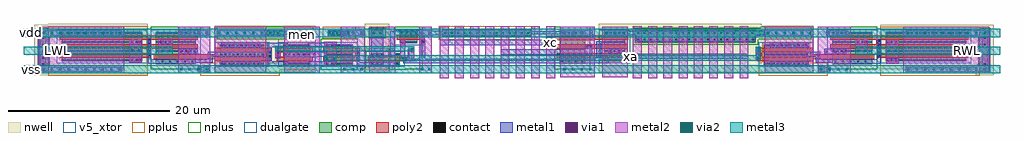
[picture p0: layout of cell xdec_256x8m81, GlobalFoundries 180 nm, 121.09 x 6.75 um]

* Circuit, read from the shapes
.subckt xdec_256x8m81 LWL RWL men vdd vss xa xb xc
XM1 vss nmos_5p043105908781109_256x8m81_80/S pmos_1p2$$49272876_R270_256x8m81_19/pmos_5p043105908781103_256x8m81_0/D vss nfet_03v3 w=5u l=0.6u
XM2 LWL pmos_1p2$$49272876_R270_256x8m81_19/pmos_5p043105908781103_256x8m81_0/D vss vss nfet_05v0 w=5u l=0.6u m=2
XM3 men nmos_5p043105908781107_256x8m81_55/S nmos_5p043105908781109_256x8m81_80/S vss nfet_05v0 w=3.3u l=0.6u m=2
XM4 vss pmos_5p043105908781106_256x8m81_39/D nmos_5p043105908781107_256x8m81_55/S vss nfet_05v0 w=0.66u l=0.6u
XM5 vss pmos_5p043105908781106_256x8m81_39/D nmos_5p043105908781109_256x8m81_80/S vss nfet_05v0 w=2.2u l=0.6u
XM6 n1 xa pmos_5p043105908781106_256x8m81_39/D vss nfet_03v3 w=3.15u l=0.6u
XM7 n2 xb n1 vss nfet_03v3 w=3.15u l=0.6u
XM8 vss xc n2 vss nfet_03v3 w=3.15u l=0.6u
XM9 vss nmos_5p043105908781109_256x8m81_80/S pmos_1p2$$49272876_R270_256x8m81_20/pmos_5p043105908781103_256x8m81_0/D vss nfet_03v3 w=5u l=0.6u
XM10 RWL pmos_1p2$$49272876_R270_256x8m81_20/pmos_5p043105908781103_256x8m81_0/D vss vss nfet_05v0 w=5u l=0.6u m=2
XM11 vdd pmos_1p2$$49272876_R270_256x8m81_19/pmos_5p043105908781103_256x8m81_0/D LWL vdd pfet_05v0 w=10u l=0.6u m=3
XM12 pmos_1p2$$49272876_R270_256x8m81_19/pmos_5p043105908781103_256x8m81_0/D nmos_5p043105908781109_256x8m81_80/S vdd vdd pfet_05v0 w=5.5u l=0.6u m=2
XM13 men pmos_5p043105908781106_256x8m81_39/D nmos_5p043105908781109_256x8m81_80/S vdd pfet_05v0 w=3.3u l=0.6u m=2
XM14 vdd pmos_5p043105908781106_256x8m81_39/D nmos_5p043105908781107_256x8m81_55/S vdd pfet_05v0 w=1.59u l=0.6u
XM15 vdd xa pmos_5p043105908781106_256x8m81_39/D vdd pfet_05v0 w=2.62u l=0.6u
XM16 pmos_5p043105908781106_256x8m81_39/D xb vdd vdd pfet_05v0 w=2.62u l=0.6u
XM17 vdd xc pmos_5p043105908781106_256x8m81_39/D vdd pfet_05v0 w=2.62u l=0.6u
XM18 pmos_1p2$$49272876_R270_256x8m81_20/pmos_5p043105908781103_256x8m81_0/D nmos_5p043105908781109_256x8m81_80/S vdd vdd pfet_05v0 w=5.5u l=0.6u m=2
XM19 vdd pmos_1p2$$49272876_R270_256x8m81_20/pmos_5p043105908781103_256x8m81_0/D RWL vdd pfet_05v0 w=10u l=0.6u m=3
.ends

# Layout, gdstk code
from math import pi, radians
import gdstk
lib = gdstk.Library(unit=1e-6, precision=1e-09)
def R(c, l, rs):  # rectangles x0, y0, x1, y1
    for r in rs: c.add(gdstk.rectangle(r[:2], r[2:], *l))
def A(c, l, x, y, w, h, nx, ny, dx, dy):  # array of equal rectangles
    R(c, l, [(x+i*dx, y+j*dy, x+i*dx+w, y+j*dy+h) for i in range(nx) for j in range(ny)])
def P(c, l, *ps):  # polygons
    for p in ps: c.add(gdstk.Polygon(p, *l))
nwell = (21, 0)
comp = (22, 0)
poly2 = (30, 0)
pplus = (31, 0)
nplus = (32, 0)
contact = (33, 0)
metal1 = (34, 0)
via1 = (35, 0)
metal2 = (36, 0)
via2 = (38, 0)
metal3 = (42, 0)
dualgate = (55, 0)
v5_xtor = (112, 1)

m1_poly24310590878127_25 = lib.new_cell('M1_POLY24310590878127_256x8m81')
R(m1_poly24310590878127_25, poly2, [(-0.21,-0.21,0.21,0.21)])
R(m1_poly24310590878127_25, contact, [(-0.11,-0.11,0.11,0.11)])
R(m1_poly24310590878127_25, metal1, [(-0.17,-0.17,0.17,0.17)])

m1_psub__45111340_256x8m = lib.new_cell('M1_PSUB$$45111340_256x8m81')
R(m1_psub__45111340_256x8m, comp, [(-0.4,-0.415,0.4,0.415)])
R(m1_psub__45111340_256x8m, pplus, [(-0.795,-0.82,0.795,0.82)])
R(m1_psub__45111340_256x8m, contact, [(-0.11,-0.11,0.11,0.11)])
R(m1_psub__45111340_256x8m, metal1, [(-0.355,-0.37,0.355,0.37)])

m1_nwell4310590878128_25 = lib.new_cell('M1_NWELL4310590878128_256x8m81')
R(m1_nwell4310590878128_25, nwell, [(-0.64,-0.43,0.64,0.43)])
R(m1_nwell4310590878128_25, comp, [(-0.68,-0.21,0.68,0.21)])
R(m1_nwell4310590878128_25, nplus, [(-0.84,-0.37,0.84,0.37)])
A(m1_nwell4310590878128_25, contact, -0.58, -0.11, 0.22, 0.22, 3, 1, 0.47, 0)
R(m1_nwell4310590878128_25, metal1, [(-0.64,-0.17,0.64,0.17)])

m2_m1__46894124_256x8m81 = lib.new_cell('M2_M1$$46894124_256x8m81')
R(m2_m1__46894124_256x8m81, metal1, [(-0.32,-0.335,0.325,0.335)])
R(m2_m1__46894124_256x8m81, via1, [(-0.13,-0.13,0.13,0.13)])
R(m2_m1__46894124_256x8m81, metal2, [(-0.32,-0.335,0.325,0.335)])

m1_poly24310590878129_25 = lib.new_cell('M1_POLY24310590878129_256x8m81')
R(m1_poly24310590878129_25, poly2, [(-0.445,-0.21,0.445,0.21)])
R(m1_poly24310590878129_25, contact, [(-0.345,-0.11,-0.125,0.11), (0.125,-0.11,0.345,0.11)])
R(m1_poly24310590878129_25, metal1, [(-0.405,-0.17,0.405,0.17)])

m1_poly24310590878134_25 = lib.new_cell('M1_POLY24310590878134_256x8m81')
R(m1_poly24310590878134_25, poly2, [(-0.21,-0.445,0.21,0.445)])
R(m1_poly24310590878134_25, contact, [(-0.11,-0.345,0.11,-0.125), (-0.11,0.125,0.11,0.345)])
R(m1_poly24310590878134_25, metal1, [(-0.17,-0.405,0.17,0.405)])

m3_m2__201252908_256x8m8 = lib.new_cell('M3_M2$$201252908_256x8m81')
R(m3_m2__201252908_256x8m8, metal2, [(-0.325,-0.875,0.325,0.88)])
R(m3_m2__201252908_256x8m8, via2, [(-0.13,-0.675,0.13,-0.415), (-0.13,0.415,0.13,0.675)])
R(m3_m2__201252908_256x8m8, metal3, [(-0.325,-0.875,0.325,0.88)])

m2_m1__202406956_256x8m8 = lib.new_cell('M2_M1$$202406956_256x8m81')
R(m2_m1__202406956_256x8m8, metal1, [(-0.325,-0.875,0.325,0.88)])
R(m2_m1__202406956_256x8m8, via1, [(-0.13,-0.675,0.13,-0.415), (-0.13,0.415,0.13,0.675)])
R(m2_m1__202406956_256x8m8, metal2, [(-0.325,-0.875,0.325,0.88)])

m3_m2__204147756_256x8m8 = lib.new_cell('M3_M2$$204147756_256x8m81')
R(m3_m2__204147756_256x8m8, metal2, [(-1.38,-0.335,1.38,0.335)])
A(m3_m2__204147756_256x8m8, via2, -1.185, -0.13, 0.26, 0.26, 3, 1, 1.055, 0)
R(m3_m2__204147756_256x8m8, metal3, [(-1.38,-0.335,1.38,0.335)])

m1_poly24310590878197_25 = lib.new_cell('M1_POLY24310590878197_256x8m81')
R(m1_poly24310590878197_25, poly2, [(-0.21,-1.15,0.21,1.15)])
A(m1_poly24310590878197_25, contact, -0.11, -1.05, 0.22, 0.22, 1, 5, 0, 0.47)
R(m1_poly24310590878197_25, metal1, [(-0.17,-1.11,0.17,1.11)])

m1_pactive4310590878198_ = lib.new_cell('M1_PACTIVE4310590878198_256x8m81')
R(m1_pactive4310590878198_, comp, [(-1.385,-0.21,1.385,0.21)])
R(m1_pactive4310590878198_, pplus, [(-1.545,-0.37,1.545,0.37)])
A(m1_pactive4310590878198_, contact, -1.285, -0.11, 0.22, 0.22, 6, 1, 0.47, 0)
R(m1_pactive4310590878198_, metal1, [(-1.345,-0.17,1.345,0.17)])

pmos_5p043105908781103_2 = lib.new_cell('pmos_5p043105908781103_256x8m81')
R(pmos_5p043105908781103_2, nwell, [(-1.04,-0.6,2.76,6.1)])
A(pmos_5p043105908781103_2, comp, -0.44, 0, 0.36, 5.5, 3, 1, 1.12, 0)
R(pmos_5p043105908781103_2, comp, [(-0.44,0,2.16,5.5)])
R(pmos_5p043105908781103_2, poly2, [(0,-0.22,0.6,5.72), (1.12,-0.22,1.72,5.72), (0,5.5,0.6,5.72), (1.12,5.5,1.72,5.72)])
R(pmos_5p043105908781103_2, pplus, [(-0.6,-0.23,2.32,5.73)])
A(pmos_5p043105908781103_2, contact, -0.37, 0.07, 0.22, 0.22, 3, 9, 1.12, 0.515)
A(pmos_5p043105908781103_2, contact, -0.37, 4.7, 0.22, 0.22, 3, 2, 1.12, 0.51)
R(pmos_5p043105908781103_2, metal1, [(-0.375,0,-0.145,5.5), (-0.375,0,-0.145,5.5), (0.745,0,0.975,5.5), (0.745,0,0.975,5.5), (1.865,0,2.095,5.5), (1.865,0,2.095,5.5)])
R(pmos_5p043105908781103_2, dualgate, [(-0.68,-0.62,2.4,6.12)])
R(pmos_5p043105908781103_2, v5_xtor, [(-0.68,-0.62,2.4,6.12)])
pmos_5p043105908781103_2.add(gdstk.Label('S', (-0.26,2.75), layer=34, texttype=0))
pmos_5p043105908781103_2.add(gdstk.Label('S', (1.98,2.75), layer=34, texttype=0))
pmos_5p043105908781103_2.add(gdstk.Label('D', (0.86,2.75), layer=34, texttype=0))

pmos_1p2__49272876_r270_ = lib.new_cell('pmos_1p2$$49272876_R270_256x8m81')
R(pmos_1p2__49272876_r270_, nwell, [(-1.48,-0.685,4.265,6.175)])
R(pmos_1p2__49272876_r270_, poly2, [(-0.155,-0.355,0.445,-0.005), (0.965,-0.355,1.565,-0.005), (-0.155,5.495,0.445,5.845), (0.965,5.495,1.565,5.845)])
R(pmos_1p2__49272876_r270_, nplus, [(2.625,-0.4,4.13,5.89)])
pmos_1p2__49272876_r270_.add(gdstk.Reference(pmos_5p043105908781103_2, (-0.155,0)))

m1_nwell__46890028_256x8 = lib.new_cell('M1_NWELL$$46890028_256x8m81')
R(m1_nwell__46890028_256x8, nwell, [(-1.5,-1.14,1.5,1.14)])
R(m1_nwell__46890028_256x8, comp, [(-0.785,-0.4,0.785,0.4)])
R(m1_nwell__46890028_256x8, nplus, [(-1.05,-0.675,1.05,0.675)])
R(m1_nwell__46890028_256x8, contact, [(-0.505,-0.11,-0.285,0.11), (0.285,-0.11,0.505,0.11)])
R(m1_nwell__46890028_256x8, metal1, [(-0.685,-0.3,0.685,0.3)])

pmos_5p043105908781104_2 = lib.new_cell('pmos_5p043105908781104_256x8m81')
R(pmos_5p043105908781104_2, nwell, [(-1.04,-0.6,3.88,10.6)])
A(pmos_5p043105908781104_2, comp, -0.44, 0, 0.36, 10, 4, 1, 1.12, 0)
R(pmos_5p043105908781104_2, comp, [(-0.44,0,3.28,10)])
A(pmos_5p043105908781104_2, poly2, 0, -0.22, 0.6, 10.44, 3, 1, 1.12, 0)
A(pmos_5p043105908781104_2, poly2, 0, 10, 0.6, 0.22, 3, 1, 1.12, 0)
R(pmos_5p043105908781104_2, pplus, [(-0.6,-0.23,3.44,10.23)])
A(pmos_5p043105908781104_2, contact, -0.37, 0.07, 0.22, 0.22, 4, 10, 1.12, 0.51)
A(pmos_5p043105908781104_2, contact, -0.37, 5.165, 0.22, 0.22, 4, 10, 1.12, 0.505)
R(pmos_5p043105908781104_2, metal1, [(-0.375,0,-0.145,10), (-0.375,0,-0.145,10), (0.745,0,0.975,10), (0.745,0,0.975,10), (1.865,0,2.095,10), (1.865,0,2.095,10), (2.985,0,3.215,10), (2.985,0,3.215,10)])
R(pmos_5p043105908781104_2, dualgate, [(-0.68,-0.62,3.52,10.62)])
R(pmos_5p043105908781104_2, v5_xtor, [(-0.68,-0.62,3.52,10.62)])
pmos_5p043105908781104_2.add(gdstk.Label('S', (-0.26,5), layer=34, texttype=0))
pmos_5p043105908781104_2.add(gdstk.Label('D', (3.1,5), layer=34, texttype=0))
pmos_5p043105908781104_2.add(gdstk.Label('D', (0.86,5), layer=34, texttype=0))
pmos_5p043105908781104_2.add(gdstk.Label('S', (1.98,5), layer=34, texttype=0))

m2_m1__204403756_r270_25 = lib.new_cell('M2_M1$$204403756_R270_256x8m81')
R(m2_m1__204403756_r270_25, metal1, [(-0.8,-0.325,0.795,0.325)])
R(m2_m1__204403756_r270_25, via1, [(-0.595,-0.13,-0.335,0.13), (0.335,-0.13,0.595,0.13)])
R(m2_m1__204403756_r270_25, metal2, [(-0.8,-0.325,0.8,0.32)])

m3_m2__201251884_256x8m8 = lib.new_cell('M3_M2$$201251884_256x8m81')
R(m3_m2__201251884_256x8m8, metal2, [(-1.905,-0.335,1.905,0.335)])
R(m3_m2__201251884_256x8m8, via2, [(-1.715,-0.13,-1.455,0.13), (-0.66,-0.13,-0.4,0.13), (0.4,-0.13,0.66,0.13), (1.455,-0.13,1.715,0.13)])
R(m3_m2__201251884_256x8m8, metal3, [(-1.905,-0.335,1.905,0.335)])

m2_m1__204404780_256x8m8 = lib.new_cell('M2_M1$$204404780_256x8m81')
P(m2_m1__204404780_256x8m8, metal1, [(-1.9,-0.335),(-1.9,-0.3),(-1.905,-0.3),(-1.905,0.3),(-1.9,0.3),(-1.9,0.33),(1.905,0.33),(1.905,-0.335)])
R(m2_m1__204404780_256x8m8, via1, [(-1.715,-0.13,-1.455,0.13), (-0.66,-0.13,-0.4,0.13), (0.4,-0.13,0.66,0.13), (1.455,-0.13,1.715,0.13)])
R(m2_m1__204404780_256x8m8, metal2, [(-1.905,-0.335,1.905,0.335)])

m2_m1__45004844_256x8m81 = lib.new_cell('M2_M1$$45004844_256x8m81')
P(m2_m1__45004844_256x8m81, metal1, [(-1.375,-0.335),(-1.375,-0.3),(-1.38,-0.3),(-1.38,0.3),(-1.375,0.3),(-1.375,0.335),(1.38,0.335),(1.38,-0.335)])
A(m2_m1__45004844_256x8m81, via1, -1.185, -0.13, 0.26, 0.26, 3, 1, 1.055, 0)
R(m2_m1__45004844_256x8m81, metal2, [(-1.38,-0.335,1.38,0.335)])

m1_psub__49279020_256x8m = lib.new_cell('M1_PSUB$$49279020_256x8m81')
R(m1_psub__49279020_256x8m, comp, [(-5.54,-0.415,5.54,0.415)])
R(m1_psub__49279020_256x8m, pplus, [(-5.935,-0.82,5.935,0.82)])
A(m1_psub__49279020_256x8m, contact, -5.25, -0.11, 0.22, 0.22, 4, 1, 0.79, 0)
A(m1_psub__49279020_256x8m, contact, -2.085, -0.11, 0.22, 0.22, 6, 1, 0.79, 0)
A(m1_psub__49279020_256x8m, contact, 2.66, -0.11, 0.22, 0.22, 4, 1, 0.79, 0)
R(m1_psub__49279020_256x8m, metal1, [(-5.495,-0.37,5.495,0.37)])

nmos_5p04310590878144_25 = lib.new_cell('nmos_5p04310590878144_256x8m81')
R(nmos_5p04310590878144_25, comp, [(-0.44,0,1.04,2.2), (-0.44,0,-0.08,2.2), (0.68,0,1.04,2.2)])
R(nmos_5p04310590878144_25, poly2, [(0,-0.22,0.6,2.42), (0,2.2,0.6,2.42)])
R(nmos_5p04310590878144_25, nplus, [(-0.6,-0.23,1.2,2.43)])
A(nmos_5p04310590878144_25, contact, -0.37, 0.07, 0.22, 0.22, 1, 3, 0, 0.615)
A(nmos_5p04310590878144_25, contact, 0.75, 0.07, 0.22, 0.22, 1, 3, 0, 0.615)
R(nmos_5p04310590878144_25, contact, [(-0.37,1.91,-0.15,2.13), (0.75,1.91,0.97,2.13)])
R(nmos_5p04310590878144_25, metal1, [(-0.375,0,-0.145,2.2), (-0.375,0,-0.145,2.2), (0.745,0,0.975,2.2), (0.745,0,0.975,2.2)])
R(nmos_5p04310590878144_25, dualgate, [(-0.68,-0.62,1.28,2.82)])
R(nmos_5p04310590878144_25, v5_xtor, [(-0.68,-0.62,1.28,2.82)])
nmos_5p04310590878144_25.add(gdstk.Label('S', (-0.26,1.1), layer=34, texttype=0))
nmos_5p04310590878144_25.add(gdstk.Label('D', (0.86,1.1), layer=34, texttype=0))

nmos_1p2__49277996_r270_ = lib.new_cell('nmos_1p2$$49277996_R270_256x8m81')
R(nmos_1p2__49277996_r270_, poly2, [(-0.155,-0.355,0.445,-0.005), (-0.155,2.2,0.445,2.55)])
R(nmos_1p2__49277996_r270_, nplus, [(-1.185,-0.665,1.48,2.855)])
nmos_1p2__49277996_r270_.add(gdstk.Reference(nmos_5p04310590878144_25, (-0.155,0)))

pmos_5p043105908781105_2 = lib.new_cell('pmos_5p043105908781105_256x8m81')
R(pmos_5p043105908781105_2, nwell, [(-1.04,-0.6,2.76,3.9)])
A(pmos_5p043105908781105_2, comp, -0.44, 0, 0.36, 3.3, 3, 1, 1.12, 0)
R(pmos_5p043105908781105_2, comp, [(-0.44,0,2.16,3.3)])
R(pmos_5p043105908781105_2, poly2, [(0,-0.22,0.6,3.52), (1.12,-0.22,1.72,3.52), (0,3.3,0.6,3.52), (1.12,3.3,1.72,3.52)])
R(pmos_5p043105908781105_2, pplus, [(-0.6,-0.23,2.32,3.53)])
A(pmos_5p043105908781105_2, contact, -0.37, 0.07, 0.22, 0.22, 3, 4, 1.12, 0.59)
A(pmos_5p043105908781105_2, contact, -0.37, 2.425, 0.22, 0.22, 3, 2, 1.12, 0.585)
R(pmos_5p043105908781105_2, metal1, [(-0.375,0,-0.145,3.3), (-0.375,0,-0.145,3.3), (0.745,0,0.975,3.3), (0.745,0,0.975,3.3), (1.865,0,2.095,3.3), (1.865,0,2.095,3.3)])
R(pmos_5p043105908781105_2, dualgate, [(-0.68,-0.62,2.4,3.92)])
R(pmos_5p043105908781105_2, v5_xtor, [(-0.68,-0.62,2.4,3.92)])
pmos_5p043105908781105_2.add(gdstk.Label('S', (-0.26,1.65), layer=34, texttype=0))
pmos_5p043105908781105_2.add(gdstk.Label('S', (1.98,1.65), layer=34, texttype=0))
pmos_5p043105908781105_2.add(gdstk.Label('D', (0.86,1.65), layer=34, texttype=0))

pmos_1p2__49271852_r270_ = lib.new_cell('pmos_1p2$$49271852_R270_256x8m81')
R(pmos_1p2__49271852_r270_, nwell, [(-1.48,-0.685,4.265,3.98)])
R(pmos_1p2__49271852_r270_, poly2, [(-0.155,-0.355,0.445,-0.005), (0.965,-0.355,1.565,-0.005), (-0.155,3.295,0.445,3.65), (0.965,3.295,1.565,3.65)])
R(pmos_1p2__49271852_r270_, pplus, [(-1.185,-0.665,2.635,3.955)])
R(pmos_1p2__49271852_r270_, nplus, [(2.625,-0.4,4.13,3.695)])
pmos_1p2__49271852_r270_.add(gdstk.Reference(pmos_5p043105908781105_2, (-0.155,0)))

m3_m2__204398636_256x8m8 = lib.new_cell('M3_M2$$204398636_256x8m81')
R(m3_m2__204398636_256x8m8, metal2, [(-0.32,-0.335,0.32,0.335)])
R(m3_m2__204398636_256x8m8, via2, [(-0.13,-0.13,0.13,0.13)])
R(m3_m2__204398636_256x8m8, metal3, [(-0.32,-0.335,0.325,0.33)])

pmos_5p043105908781106_2 = lib.new_cell('pmos_5p043105908781106_256x8m81')
R(pmos_5p043105908781106_2, nwell, [(-1.04,-0.6,1.64,3.22)])
R(pmos_5p043105908781106_2, comp, [(-0.44,0,1.04,2.62), (-0.44,0,-0.08,2.62), (0.68,0,1.04,2.62)])
R(pmos_5p043105908781106_2, poly2, [(0,-0.22,0.6,2.84), (0,2.62,0.6,2.84)])
R(pmos_5p043105908781106_2, pplus, [(-0.6,-0.23,1.2,2.85)])
A(pmos_5p043105908781106_2, contact, -0.37, 0.07, 0.22, 0.22, 1, 5, 0, 0.565)
A(pmos_5p043105908781106_2, contact, 0.75, 0.07, 0.22, 0.22, 1, 5, 0, 0.565)
R(pmos_5p043105908781106_2, metal1, [(-0.375,0,-0.145,2.62), (-0.375,0,-0.145,2.62), (0.745,0,0.975,2.62), (0.745,0,0.975,2.62)])
R(pmos_5p043105908781106_2, dualgate, [(-0.68,-0.62,1.28,3.24)])
R(pmos_5p043105908781106_2, v5_xtor, [(-0.68,-0.62,1.28,3.24)])
pmos_5p043105908781106_2.add(gdstk.Label('S', (-0.26,1.31), layer=34, texttype=0))
pmos_5p043105908781106_2.add(gdstk.Label('D', (0.86,1.31), layer=34, texttype=0))

m3_m2__204399660_256x8m8 = lib.new_cell('M3_M2$$204399660_256x8m81')
R(m3_m2__204399660_256x8m8, metal2, [(-5.065,-0.335,5.065,0.335)])
A(m3_m2__204399660_256x8m8, via2, -4.875, -0.13, 0.26, 0.26, 3, 1, 1.055, 0)
A(m3_m2__204399660_256x8m8, via2, 2.505, -0.13, 0.26, 0.26, 3, 1, 1.055, 0)
R(m3_m2__204399660_256x8m8, via2, [(-1.715,-0.13,-1.455,0.13), (-0.66,-0.13,-0.4,0.13), (0.4,-0.13,0.66,0.13), (1.455,-0.13,1.715,0.13)])
R(m3_m2__204399660_256x8m8, metal3, [(-5.065,-0.335,5.065,0.335)])

m3_m2__204400684_256x8m8 = lib.new_cell('M3_M2$$204400684_256x8m81')
R(m3_m2__204400684_256x8m8, metal2, [(-0.77,-0.335,0.77,0.335)])
R(m3_m2__204400684_256x8m8, via2, [(-0.58,-0.13,-0.32,0.13), (0.32,-0.13,0.58,0.13)])
R(m3_m2__204400684_256x8m8, metal3, [(-0.775,-0.335,0.775,0.33)])

m3_m2__204401708_256x8m8 = lib.new_cell('M3_M2$$204401708_256x8m81')
R(m3_m2__204401708_256x8m8, metal2, [(-2.96,-0.335,2.96,0.335)])
R(m3_m2__204401708_256x8m8, via2, [(-2.765,-0.13,-2.505,0.13), (-1.715,-0.13,-1.455,0.13), (-0.66,-0.13,-0.4,0.13), (0.4,-0.13,0.66,0.13), (1.455,-0.13,1.715,0.13), (2.505,-0.13,2.765,0.13)])
R(m3_m2__204401708_256x8m8, metal3, [(-2.96,-0.335,2.96,0.335)])

m2_m1__204402732_256x8m8 = lib.new_cell('M2_M1$$204402732_256x8m81')
R(m2_m1__204402732_256x8m8, metal1, [(-5.065,-0.335,5.065,0.335)])
A(m2_m1__204402732_256x8m8, via1, -4.875, -0.13, 0.26, 0.26, 3, 1, 1.055, 0)
A(m2_m1__204402732_256x8m8, via1, 2.505, -0.13, 0.26, 0.26, 3, 1, 1.055, 0)
R(m2_m1__204402732_256x8m8, via1, [(-1.715,-0.13,-1.455,0.13), (-0.66,-0.13,-0.4,0.13), (0.4,-0.13,0.66,0.13), (1.455,-0.13,1.715,0.13)])
R(m2_m1__204402732_256x8m8, metal2, [(-5.065,-0.335,5.065,0.335)])

nmos_5p043105908781107_2 = lib.new_cell('nmos_5p043105908781107_256x8m81')
R(nmos_5p043105908781107_2, comp, [(-0.44,0,1.04,0.66), (-0.44,0,-0.08,0.66), (0.68,0,1.04,0.66)])
R(nmos_5p043105908781107_2, poly2, [(0,-0.22,0.6,0.88), (0,0.66,0.6,0.88)])
R(nmos_5p043105908781107_2, nplus, [(-0.6,-0.23,1.2,0.89)])
R(nmos_5p043105908781107_2, contact, [(-0.37,0.22,-0.15,0.44), (0.75,0.22,0.97,0.44)])
R(nmos_5p043105908781107_2, metal1, [(-0.375,0,-0.145,0.66), (-0.375,0,-0.145,0.66), (0.745,0,0.975,0.66), (0.745,0,0.975,0.66)])
R(nmos_5p043105908781107_2, dualgate, [(-0.68,-0.62,1.28,1.28)])
R(nmos_5p043105908781107_2, v5_xtor, [(-0.68,-0.62,1.28,1.28)])
nmos_5p043105908781107_2.add(gdstk.Label('S', (-0.26,0.33), layer=34, texttype=0))
nmos_5p043105908781107_2.add(gdstk.Label('D', (0.86,0.33), layer=34, texttype=0))

m2_m1__204403756_256x8m8 = lib.new_cell('M2_M1$$204403756_256x8m81')
R(m2_m1__204403756_256x8m8, metal1, [(-0.77,-0.33,0.77,0.335)])
R(m2_m1__204403756_256x8m8, via1, [(-0.58,-0.13,-0.32,0.13), (0.32,-0.13,0.58,0.13)])
R(m2_m1__204403756_256x8m8, metal2, [(-0.77,-0.33,0.77,0.335)])

m2_m1__204408876_256x8m8 = lib.new_cell('M2_M1$$204408876_256x8m81')
R(m2_m1__204408876_256x8m8, metal1, [(-1.375,-0.335,1.375,0.33)])
A(m2_m1__204408876_256x8m8, via1, -1.185, -0.13, 0.26, 0.26, 3, 1, 1.055, 0)
R(m2_m1__204408876_256x8m8, metal2, [(-1.38,-0.335,1.38,0.335)])

m1_pactive__204209196_25 = lib.new_cell('M1_PACTIVE$$204209196_256x8m81')
R(m1_pactive__204209196_25, comp, [(-0.39,-0.4,0.39,0.4)])
R(m1_pactive__204209196_25, pplus, [(-0.785,-0.81,0.785,0.81)])
R(m1_pactive__204209196_25, contact, [(-0.11,-0.11,0.11,0.11)])
R(m1_pactive__204209196_25, metal1, [(-0.29,-0.3,0.29,0.3)])

pmos_1p2__49270828_r270_ = lib.new_cell('pmos_1p2$$49270828_R270_256x8m81')
R(pmos_1p2__49270828_r270_, nwell, [(-1.48,-0.685,4.085,11.665)])
A(pmos_1p2__49270828_r270_, poly2, -0.155, -0.355, 0.6, 0.35, 3, 1, 1.12, 0)
R(pmos_1p2__49270828_r270_, pplus, [(-1.185,-0.665,3.79,11.64)])
pmos_1p2__49270828_r270_.add(gdstk.Reference(pmos_5p043105908781104_2, (-0.155,0)))

m2_m1__204405804_256x8m8 = lib.new_cell('M2_M1$$204405804_256x8m81')
R(m2_m1__204405804_256x8m8, metal1, [(-1.225,-0.335,1.225,0.33)])
A(m2_m1__204405804_256x8m8, via1, -1.03, -0.13, 0.26, 0.26, 3, 1, 0.9, 0)
R(m2_m1__204405804_256x8m8, metal2, [(-1.225,-0.335,1.225,0.335)])

m2_m1__204407852_256x8m8 = lib.new_cell('M2_M1$$204407852_256x8m81')
R(m2_m1__204407852_256x8m8, metal1, [(-2.43,-0.33,2.43,0.33)])
A(m2_m1__204407852_256x8m8, via1, -2.24, -0.13, 0.26, 0.26, 5, 1, 1.055, 0)
R(m2_m1__204407852_256x8m8, metal2, [(-2.43,-0.335,2.43,0.335)])

nmos_5p043105908781108_2 = lib.new_cell('nmos_5p043105908781108_256x8m81')
A(nmos_5p043105908781108_2, comp, -0.44, 0, 0.36, 5, 3, 1, 1.12, 0)
R(nmos_5p043105908781108_2, comp, [(-0.44,0,2.16,5)])
R(nmos_5p043105908781108_2, poly2, [(0,-0.22,0.6,5.22), (1.12,-0.22,1.72,5.22), (0,5,0.6,5.22), (1.12,5,1.72,5.22)])
R(nmos_5p043105908781108_2, nplus, [(-0.6,-0.23,2.32,5.23)])
A(nmos_5p043105908781108_2, contact, -0.37, 0.07, 0.22, 0.22, 3, 2, 1.12, 0.52)
A(nmos_5p043105908781108_2, contact, -0.37, 1.105, 0.22, 0.22, 3, 8, 1.12, 0.515)
R(nmos_5p043105908781108_2, metal1, [(-0.375,0,-0.145,5), (-0.375,0,-0.145,5), (0.745,0,0.975,5), (0.745,0,0.975,5), (1.865,0,2.095,5), (1.865,0,2.095,5)])
R(nmos_5p043105908781108_2, dualgate, [(-0.68,-0.62,2.4,5.62)])
R(nmos_5p043105908781108_2, v5_xtor, [(-0.68,-0.62,2.4,5.62)])
nmos_5p043105908781108_2.add(gdstk.Label('S', (-0.26,2.5), layer=34, texttype=0))
nmos_5p043105908781108_2.add(gdstk.Label('S', (1.98,2.5), layer=34, texttype=0))
nmos_5p043105908781108_2.add(gdstk.Label('D', (0.86,2.5), layer=34, texttype=0))

nmos_5p043105908781109_2 = lib.new_cell('nmos_5p043105908781109_256x8m81')
A(nmos_5p043105908781109_2, comp, -0.44, 0, 0.36, 3.3, 3, 1, 1.12, 0)
R(nmos_5p043105908781109_2, comp, [(-0.44,0,2.16,3.3)])
R(nmos_5p043105908781109_2, poly2, [(0,-0.22,0.6,3.52), (1.12,-0.22,1.72,3.52), (0,3.3,0.6,3.52), (1.12,3.3,1.72,3.52)])
R(nmos_5p043105908781109_2, nplus, [(-0.6,-0.23,2.32,3.53)])
A(nmos_5p043105908781109_2, contact, -0.37, 0.07, 0.22, 0.22, 3, 4, 1.12, 0.59)
A(nmos_5p043105908781109_2, contact, -0.37, 2.425, 0.22, 0.22, 3, 2, 1.12, 0.585)
R(nmos_5p043105908781109_2, metal1, [(-0.375,0,-0.145,3.3), (-0.375,0,-0.145,3.3), (0.745,0,0.975,3.3), (0.745,0,0.975,3.3), (1.865,0,2.095,3.3), (1.865,0,2.095,3.3)])
R(nmos_5p043105908781109_2, dualgate, [(-0.68,-0.62,2.4,3.92)])
R(nmos_5p043105908781109_2, v5_xtor, [(-0.68,-0.62,2.4,3.92)])
nmos_5p043105908781109_2.add(gdstk.Label('S', (-0.26,1.65), layer=34, texttype=0))
nmos_5p043105908781109_2.add(gdstk.Label('S', (1.98,1.65), layer=34, texttype=0))
nmos_5p043105908781109_2.add(gdstk.Label('D', (0.86,1.65), layer=34, texttype=0))

m2_m1__204406828_256x8m8 = lib.new_cell('M2_M1$$204406828_256x8m81')
R(m2_m1__204406828_256x8m8, metal1, [(-2.955,-0.335,2.955,0.335)])
R(m2_m1__204406828_256x8m8, via1, [(-2.765,-0.13,-2.505,0.13), (-1.715,-0.13,-1.455,0.13), (-0.66,-0.13,-0.4,0.13), (0.4,-0.13,0.66,0.13), (1.455,-0.13,1.715,0.13), (2.505,-0.13,2.765,0.13)])
R(m2_m1__204406828_256x8m8, metal2, [(-2.96,-0.335,2.96,0.335)])

m2_m1__202394668_256x8m8 = lib.new_cell('M2_M1$$202394668_256x8m81')
P(m2_m1__202394668_256x8m8, metal1, [(-0.32,-0.33),(-0.32,0.33),(0.325,0.33),(0.325,-0.265),(0.32,-0.265),(0.32,-0.33)])
R(m2_m1__202394668_256x8m8, via1, [(-0.13,-0.13,0.13,0.13)])
R(m2_m1__202394668_256x8m8, metal2, [(-0.32,-0.335,0.32,0.335)])

pmos_5p043105908781110_2 = lib.new_cell('pmos_5p043105908781110_256x8m81')
R(pmos_5p043105908781110_2, nwell, [(-1.04,-0.6,1.64,2.19)])
R(pmos_5p043105908781110_2, comp, [(-0.44,0,1.04,1.59), (-0.44,0,-0.08,1.59), (0.68,0,1.04,1.59)])
R(pmos_5p043105908781110_2, poly2, [(0,-0.22,0.6,1.81), (0,1.59,0.6,1.81)])
R(pmos_5p043105908781110_2, pplus, [(-0.6,-0.23,1.2,1.82)])
A(pmos_5p043105908781110_2, contact, -0.37, 0.07, 0.22, 0.22, 1, 3, 0, 0.615)
A(pmos_5p043105908781110_2, contact, 0.75, 0.07, 0.22, 0.22, 1, 3, 0, 0.615)
R(pmos_5p043105908781110_2, metal1, [(-0.375,0,-0.145,1.59), (-0.375,0,-0.145,1.59), (0.745,0,0.975,1.59), (0.745,0,0.975,1.59)])
R(pmos_5p043105908781110_2, dualgate, [(-0.68,-0.62,1.28,2.21)])
R(pmos_5p043105908781110_2, v5_xtor, [(-0.68,-0.62,1.28,2.21)])
pmos_5p043105908781110_2.add(gdstk.Label('S', (-0.26,0.795), layer=34, texttype=0))
pmos_5p043105908781110_2.add(gdstk.Label('D', (0.86,0.795), layer=34, texttype=0))

m2_m1__201262124_256x8m8 = lib.new_cell('M2_M1$$201262124_256x8m81')
R(m2_m1__201262124_256x8m8, metal1, [(-0.85,-0.335,0.85,0.33)])
R(m2_m1__201262124_256x8m8, via1, [(-0.66,-0.13,-0.4,0.13), (0.4,-0.13,0.66,0.13)])
R(m2_m1__201262124_256x8m8, metal2, [(-0.85,-0.335,0.85,0.335)])

xdec_256x8m81 = lib.new_cell('xdec_256x8m81')
R(xdec_256x8m81, nwell, [(1.27,-0.74,15.345,5.55), (42.3,-0.46,45.3,5.64), (23.6,-0.355,36.175,5.39)])
P(xdec_256x8m81, nwell, [(71.29,-0.355),(71.29,5.635),(91.525,5.635),(91.525,4.505),(97.98,4.505),(97.98,-0.005),(91.13,-0.005),(91.13,-0.355)],
  [(118.105,-0.74),(118.105,-0.02),(106.24,-0.02),(106.24,5.545),(118.105,5.545),(118.105,5.55),(120.315,5.55),(120.315,-0.74)])
R(xdec_256x8m81, comp, [(1.98,-0.005,2.76,4.81), (118.82,-0.005,119.6,4.81), (16.335,0.62,21.335,2.465), (100.25,0.62,105.25,2.465), (66.455,0.685,69.605,4.845), (75.8,3.28,90.81,4.9), (29.72,4.155,32.285,4.845), (90.7,4.155,91.81,4.845)])
R(xdec_256x8m81, poly2, [(30.135,0.965,30.68,2.685), (31.37,0.965,31.845,2.685), (37.11,0.965,37.46,1.565), (42.675,0.965,47.525,1.565), (90.995,0.965,91.505,2.685), (66.105,1.4,76.095,2), (37.11,2.085,37.46,2.685), (66.105,2.52,71.66,3.12), (71.62,2.52,71.97,3.12)])
P(xdec_256x8m81, poly2, [(14.805,1.4),(14.805,2),(15.27,2),(15.27,2.52),(14.805,2.52),(14.805,3.12),(15.36,3.12),(15.36,3.64),(14.84,3.64),(14.84,4.24),(16.84,4.24),(16.84,3.64),(15.78,3.64),(15.78,3.12),(16.84,3.12),(16.84,2.52),(15.78,2.52),(15.78,1.4)],
  [(105.885,1.4),(105.885,2.52),(105.395,2.52),(105.395,3.12),(105.76,3.12),(105.76,3.64),(105.235,3.64),(105.235,4.24),(106.92,4.24),(106.92,3.64),(106.18,3.64),(106.18,3.12),(106.92,3.12),(106.92,2.52),(106.315,2.52),(106.315,2),(106.92,2),(106.92,1.4)],
  [(49.29,3.245),(49.29,3.64),(48.79,3.64),(48.79,4.24),(49.71,4.24),(49.71,3.245)],
  [(23.645,0.965),(23.645,1.24),(16.08,1.24),(16.08,1.84),(23.645,1.84),(23.645,2.685),(23.94,2.685),(23.94,0.965)],
  [(40.765,0.965),(40.765,1.565),(41.115,1.565),(41.115,2.085),(40.765,2.085),(40.765,2.685),(41.65,2.685),(41.65,0.965)],
  [(64.75,3.585),(64.75,4.185),(70.235,4.185),(70.235,4.24),(74.945,4.24),(74.945,3.64),(70.74,3.64),(70.74,3.585)],
  [(97.64,0.965),(97.64,2.685),(97.935,2.685),(97.935,1.84),(105.47,1.84),(105.47,1.24),(97.935,1.24),(97.935,0.965)])
R(xdec_256x8m81, pplus, [(3.015,-0.82,15.325,5.255), (21.89,-0.82,31.715,0.82), (91.14,-0.82,99.69,0.82), (106.26,-0.82,118.565,5.25), (42.365,-0.065,45.275,2.6), (37.065,3.755,41.16,5.245)])
R(xdec_256x8m81, nplus, [(1.72,-0.275,3.025,5.085), (118.555,-0.275,119.865,5.085), (36.8,-0.065,41.42,3.755), (15.715,-0.005,21.955,5.255), (65.8,-0.005,70.265,5.255), (75.54,3.01,91.075,5.17), (29.72,3.745,32.285,5.255), (91.065,3.745,91.415,5.175)])
P(xdec_256x8m81, nplus, [(45.31,-0.065),(45.31,2.6),(45.96,2.6),(45.96,5.255),(49.48,5.255),(49.48,-0.005),(47.295,-0.005),(47.295,-0.065)],
  [(99.735,-0.005),(99.735,1.145),(99.63,1.145),(99.63,5.25),(105.87,5.25),(105.87,-0.005)])
A(xdec_256x8m81, contact, 2.26, 0.505, 0.22, 0.22, 1, 4, 0, 0.815)
A(xdec_256x8m81, contact, 17.995, 0.855, 0.22, 0.22, 3, 1, 0.935, 0)
A(xdec_256x8m81, contact, 100.565, 0.855, 0.22, 0.22, 3, 1, 0.935, 0)
A(xdec_256x8m81, contact, 67.515, 0.925, 0.22, 0.22, 3, 2, 0.825, 3.465)
A(xdec_256x8m81, contact, 76.08, 3.57, 0.22, 0.22, 6, 2, 0.79, 0.82)
A(xdec_256x8m81, contact, 80.825, 3.57, 0.22, 0.22, 7, 2, 0.79, 0.82)
A(xdec_256x8m81, contact, 86.36, 3.57, 0.22, 0.22, 6, 2, 0.79, 0.82)
R(xdec_256x8m81, contact, [(119.1,0.505,119.32,0.725), (17.065,0.855,17.285,1.075), (20.795,0.855,21.015,1.075), (103.365,0.855,103.585,1.075), (104.3,0.855,104.52,1.075), (66.68,0.925,66.9,1.145), (119.1,2.95,119.32,3.17), (2.26,3.77,2.48,3.99), (119.1,3.77,119.32,3.99), (66.68,4.39,66.9,4.61)])
R(xdec_256x8m81, metal1, [(22.33,-0.37,23.105,0.37), (98.475,-0.37,99.255,0.37), (35.175,0.39,37.635,0.99), (74.98,1.275,89.875,1.945), (31.18,1.39,31.845,2.305), (35.175,1.55,37.635,2.145), (43.05,1.55,44.595,4.8), (35.175,2.705,37.635,3.305), (51.57,2.975,65.6,3.645), (75.9,3.385,90.71,4.8), (37.71,4.165,39.6,4.835), (29.575,4.2,32.77,4.8), (48.625,4.2,53.49,4.8), (74.54,4.2,92.345,4.8)])
P(xdec_256x8m81, metal1, [(1.72,-0.335),(1.72,4.835),(3.18,4.835),(3.18,2.485),(5.445,2.485),(5.445,1.89),(3.18,1.89),(3.18,-0.335)],
  [(15.4,0.665),(15.4,3.1),(15.74,3.1),(15.74,1.265),(22.8,1.265),(22.8,2.16),(29.78,2.16),(29.78,1.55),(23.39,1.55),(23.39,0.81),(21.195,0.81),(21.195,0.665)],
  [(30.17,0.39),(30.17,3.305),(32.745,3.305),(32.745,2.705),(30.75,2.705),(30.75,0.99),(32.745,0.99),(32.745,0.39)],
  [(41.27,0.29),(41.27,2.255),(41.61,2.255),(41.61,0.89),(46.595,0.89),(46.595,0.29)],
  [(45.44,1.55),(45.44,4.8),(48.835,4.8),(48.835,4.2),(46.02,4.2),(46.02,1.55)],
  [(118.405,-0.335),(118.405,1.89),(115.905,1.89),(115.905,2.485),(118.405,2.485),(118.405,4.2),(117.395,4.2),(117.395,4.8),(118.405,4.8),(118.405,4.835),(119.865,4.835),(119.865,-0.335)],
  [(66.5,4.2),(66.5,4.315),(59.44,4.315),(59.44,4.685),(66.5,4.685),(66.5,4.8),(69.565,4.8),(69.565,4.2)],
  [(59.125,1.82),(59.125,2.485),(69.685,2.485),(69.685,2.99),(70.525,2.99),(70.525,1.82)],
  [(47.025,0.73),(47.025,1.45),(47.595,1.45),(47.595,2.565),(48.405,2.565),(48.405,1.33),(49.21,1.33),(49.21,3.735),(49.79,3.735),(49.79,1.33),(71.005,1.33),(71.005,3.495),(72.33,3.495),(72.33,3.265),(71.585,3.265),(71.585,1.33),(72.57,1.33),(72.57,0.73)],
  [(100.385,0.665),(100.385,0.8),(98.2,0.8),(98.2,1.55),(97.08,1.55),(97.08,2.145),(98.78,2.145),(98.78,1.265),(105.925,1.265),(105.925,3.69),(106.265,3.69),(106.265,0.665)])
R(xdec_256x8m81, metal2, [(51.57,-1.115,52.675,5.255), (53.455,-1.115,54.565,5.255), (55.345,-1.115,56.455,5.32), (57.235,-1.115,58.34,5.32), (59.125,-1.115,60.23,5.32), (61.01,-1.115,62.12,5.32), (62.9,-1.115,64.005,5.32), (64.79,-1.115,65.895,5.32), (75.55,-1.115,76.655,5.32), (77.435,-1.115,78.545,5.32), (79.325,-1.115,80.435,5.32), (81.215,-1.115,82.32,5.32), (83.105,-1.115,84.21,5.32), (84.99,-1.115,86.1,5.32), (86.88,-1.115,87.99,5.32), (88.77,-1.115,89.875,5.32), (66.5,-1.025,70.795,5.255), (71.77,-1.025,74.9,5.255), (1.83,-0.505,12.425,5.255), (19.12,-0.505,23.105,5.255), (23.635,-0.505,30.055,5.255), (32.3,-0.505,36.7,5.255), (39.325,-0.505,42.3,5.255), (42.815,-0.505,46.075,5.255), (49.055,-0.505,50.6,5.255), (91.93,-0.505,97.935,5.255), (98.475,-0.505,102.545,5.255), (109.115,-0.505,119.755,5.255), (37.24,0.345,38.785,3.385), (106.96,0.7,108.51,3.68), (13.075,0.81,14.615,3.715), (46.66,1.05,47.305,3.645), (31.18,1.48,31.825,2.565), (16.635,1.795,18.43,3.755), (103.15,1.795,104.7,3.715)])
R(xdec_256x8m81, metal3, [(-0.005,-0.505,121.09,0.505), (37.24,1.05,91.415,1.715), (-0.005,1.795,18.43,2.805), (103.15,1.795,121.09,2.805), (31.22,2.205,48.185,2.875), (-0.005,3.995,121.09,5.005)])
xdec_256x8m81.add(gdstk.Reference(m1_poly24310590878127_25, (47.315,1.28)))
xdec_256x8m81.add(gdstk.Reference(m1_poly24310590878127_25, (49.5,3.435)))
xdec_256x8m81.add(gdstk.Reference(m1_psub__45111340_256x8m, (98.895,0), rotation=pi, x_reflection=True))
xdec_256x8m81.add(gdstk.Reference(m1_nwell4310590878128_25, (31.01,4.5)))
xdec_256x8m81.add(gdstk.Reference(m2_m1__46894124_256x8m81, (31.5,1.815)))
xdec_256x8m81.add(gdstk.Reference(m1_poly24310590878129_25, (65.195,3.795)))
xdec_256x8m81.add(gdstk.Reference(m1_poly24310590878129_25, (70.12,2.82)))
xdec_256x8m81.add(gdstk.Reference(m1_poly24310590878134_25, (30.47,1.84)))
xdec_256x8m81.add(gdstk.Reference(m1_poly24310590878134_25, (91.205,1.975)))
xdec_256x8m81.add(gdstk.Reference(m1_poly24310590878134_25, (41.44,1.85)))
xdec_256x8m81.add(gdstk.Reference(m1_poly24310590878134_25, (31.58,1.84)))
xdec_256x8m81.add(gdstk.Reference(m1_poly24310590878134_25, (75.65,1.665), rotation=3*pi/2))
xdec_256x8m81.add(gdstk.Reference(m3_m2__201252908_256x8m8, (91.09,1.925)))
xdec_256x8m81.add(gdstk.Reference(m2_m1__202406956_256x8m8, (91.09,1.925)))
xdec_256x8m81.add(gdstk.Reference(m3_m2__204147756_256x8m8, (40.815,0)))
xdec_256x8m81.add(gdstk.Reference(m3_m2__204147756_256x8m8, (73.335,4.5)))
xdec_256x8m81.add(gdstk.Reference(m1_poly24310590878197_25, (15.57,2.73)))
xdec_256x8m81.add(gdstk.Reference(m1_poly24310590878197_25, (106.095,2.58)))
xdec_256x8m81.add(gdstk.Reference(m1_pactive4310590878198_, (39.055,4.5)))
xdec_256x8m81.add(gdstk.Reference(pmos_1p2__49272876_r270_, (29.78,1.12), rotation=pi/2))
xdec_256x8m81.add(gdstk.Reference(pmos_1p2__49272876_r270_, (91.805,1.12), rotation=pi/2, x_reflection=True))
xdec_256x8m81.add(gdstk.Reference(m1_nwell__46890028_256x8, (43.8,4.5)))
xdec_256x8m81.add(gdstk.Reference(pmos_5p043105908781104_2, (106.925,1.4), rotation=pi/2, x_reflection=True))
xdec_256x8m81.add(gdstk.Reference(m2_m1__204403756_r270_25, (48.08,1.77), rotation=pi/2))
xdec_256x8m81.add(gdstk.Reference(m3_m2__201251884_256x8m8, (21.115,0)))
xdec_256x8m81.add(gdstk.Reference(m3_m2__201251884_256x8m8, (68.645,0)))
xdec_256x8m81.add(gdstk.Reference(m3_m2__201251884_256x8m8, (100.51,0)))
xdec_256x8m81.add(gdstk.Reference(m2_m1__204404780_256x8m8, (34.5,1.85)))
xdec_256x8m81.add(gdstk.Reference(m2_m1__204404780_256x8m8, (21.115,4.5)))
xdec_256x8m81.add(gdstk.Reference(m2_m1__204404780_256x8m8, (68.645,4.5)))
xdec_256x8m81.add(gdstk.Reference(m2_m1__45004844_256x8m81, (100.895,4.5)))
xdec_256x8m81.add(gdstk.Reference(m1_psub__49279020_256x8m, (57.415,4.5)))
xdec_256x8m81.add(gdstk.Reference(nmos_1p2__49277996_r270_, (48.815,3.795), rotation=pi/2))
xdec_256x8m81.add(gdstk.Reference(pmos_1p2__49271852_r270_, (35.485,1.12), rotation=pi/2))
xdec_256x8m81.add(gdstk.Reference(m3_m2__204398636_256x8m8, (46.985,1.385)))
xdec_256x8m81.add(gdstk.Reference(m3_m2__204398636_256x8m8, (31.5,2.54)))
xdec_256x8m81.add(gdstk.Reference(m3_m2__204398636_256x8m8, (48.08,2.54)))
xdec_256x8m81.add(gdstk.Reference(pmos_5p043105908781106_2, (71.975,1.4), rotation=pi/2, x_reflection=True))
xdec_256x8m81.add(gdstk.Reference(pmos_5p043105908781106_2, (71.975,3.64), rotation=pi/2, x_reflection=True))
xdec_256x8m81.add(gdstk.Reference(pmos_5p043105908781106_2, (71.975,2.52), rotation=pi/2, x_reflection=True))
xdec_256x8m81.add(gdstk.Reference(m3_m2__204399660_256x8m8, (7.125,4.5)))
xdec_256x8m81.add(gdstk.Reference(m3_m2__204399660_256x8m8, (114.435,4.5)))
xdec_256x8m81.add(gdstk.Reference(m3_m2__204400684_256x8m8, (107.735,2.3)))
xdec_256x8m81.add(gdstk.Reference(m3_m2__204400684_256x8m8, (43.82,4.5)))
xdec_256x8m81.add(gdstk.Reference(m3_m2__204400684_256x8m8, (103.925,2.3)))
xdec_256x8m81.add(gdstk.Reference(m3_m2__204400684_256x8m8, (17.655,2.3)))
xdec_256x8m81.add(gdstk.Reference(m3_m2__204400684_256x8m8, (13.845,2.335)))
xdec_256x8m81.add(gdstk.Reference(m3_m2__204400684_256x8m8, (38.015,1.385)))
xdec_256x8m81.add(gdstk.Reference(m3_m2__204400684_256x8m8, (49.825,0)))
xdec_256x8m81.add(gdstk.Reference(m3_m2__204401708_256x8m8, (26.845,4.5)))
xdec_256x8m81.add(gdstk.Reference(m3_m2__204401708_256x8m8, (94.935,4.5)))
xdec_256x8m81.add(gdstk.Reference(m2_m1__204402732_256x8m8, (7.125,4.5)))
xdec_256x8m81.add(gdstk.Reference(m2_m1__204402732_256x8m8, (7.125,0)))
xdec_256x8m81.add(gdstk.Reference(m2_m1__204402732_256x8m8, (114.435,4.5)))
xdec_256x8m81.add(gdstk.Reference(m2_m1__204402732_256x8m8, (114.435,0)))
xdec_256x8m81.add(gdstk.Reference(nmos_5p043105908781107_2, (46.63,0.965), rotation=pi/2))
xdec_256x8m81.add(gdstk.Reference(m2_m1__204403756_256x8m8, (107.735,1.03)))
xdec_256x8m81.add(gdstk.Reference(m2_m1__204403756_256x8m8, (17.655,3.42)))
xdec_256x8m81.add(gdstk.Reference(m2_m1__204403756_256x8m8, (13.845,1.14)))
xdec_256x8m81.add(gdstk.Reference(m2_m1__204403756_256x8m8, (13.845,3.38)))
xdec_256x8m81.add(gdstk.Reference(m2_m1__204403756_256x8m8, (103.925,3.38)))
xdec_256x8m81.add(gdstk.Reference(m2_m1__204403756_256x8m8, (38.015,0.68)))
xdec_256x8m81.add(gdstk.Reference(m2_m1__204403756_256x8m8, (22.335,0)))
xdec_256x8m81.add(gdstk.Reference(m2_m1__204403756_256x8m8, (43.82,4.5)))
xdec_256x8m81.add(gdstk.Reference(m2_m1__204403756_256x8m8, (99.25,0)))
xdec_256x8m81.add(gdstk.Reference(m2_m1__204403756_256x8m8, (107.735,3.345)))
xdec_256x8m81.add(gdstk.Reference(m2_m1__204403756_256x8m8, (49.825,4.5)))
xdec_256x8m81.add(gdstk.Reference(m2_m1__204403756_256x8m8, (38.015,3.05)))
xdec_256x8m81.add(gdstk.Reference(m2_m1__204408876_256x8m8, (40.815,4.5)))
xdec_256x8m81.add(gdstk.Reference(m2_m1__204408876_256x8m8, (100.665,2.19)))
xdec_256x8m81.add(gdstk.Reference(m2_m1__204408876_256x8m8, (73.335,4.5)))
xdec_256x8m81.add(gdstk.Reference(m1_pactive__204209196_25, (22.675,0)))
xdec_256x8m81.add(gdstk.Reference(pmos_1p2__49270828_r270_, (14.66,1.555), rotation=pi/2))
xdec_256x8m81.add(gdstk.Reference(m2_m1__204405804_256x8m8, (20.345,2.19)))
xdec_256x8m81.add(gdstk.Reference(m2_m1__204407852_256x8m8, (94.935,0.69)))
xdec_256x8m81.add(gdstk.Reference(m2_m1__204407852_256x8m8, (94.935,3.005)))
xdec_256x8m81.add(gdstk.Reference(m2_m1__204407852_256x8m8, (26.88,0.69)))
xdec_256x8m81.add(gdstk.Reference(m2_m1__204407852_256x8m8, (26.88,2.99)))
xdec_256x8m81.add(gdstk.Reference(nmos_5p043105908781108_2, (100.25,4.24), rotation=3*pi/2))
xdec_256x8m81.add(gdstk.Reference(nmos_5p043105908781108_2, (21.335,4.24), rotation=3*pi/2, x_reflection=True))
xdec_256x8m81.add(gdstk.Reference(nmos_5p043105908781109_2, (40.76,0.965), rotation=pi/2))
xdec_256x8m81.add(gdstk.Reference(m2_m1__204406828_256x8m8, (26.845,4.5)))
xdec_256x8m81.add(gdstk.Reference(m2_m1__204406828_256x8m8, (94.935,4.5)))
xdec_256x8m81.add(gdstk.Reference(m2_m1__202394668_256x8m8, (46.985,3.31)))
xdec_256x8m81.add(gdstk.Reference(m2_m1__202394668_256x8m8, (31.5,1.815)))
xdec_256x8m81.add(gdstk.Reference(pmos_5p043105908781110_2, (44.61,0.965), rotation=pi/2))
xdec_256x8m81.add(gdstk.Reference(m2_m1__201262124_256x8m8, (73.335,2.19)))
xdec_256x8m81.add(gdstk.Label('xc', (65.31,3.31), layer=34, texttype=10))
xdec_256x8m81.add(gdstk.Label('xb', (65.31,2.155), layer=34, texttype=10))
xdec_256x8m81.add(gdstk.Label('xa', (75.3,1.61), layer=34, texttype=10))
xdec_256x8m81.add(gdstk.Label('vss', (0.975,0), layer=42, texttype=10))
xdec_256x8m81.add(gdstk.Label('vdd', (0.975,4.5), layer=42, texttype=10))
xdec_256x8m81.add(gdstk.Label('RWL', (117.115,2.3), layer=42, texttype=10))
xdec_256x8m81.add(gdstk.Label('LWL', (4.15,2.3), layer=42, texttype=10))
xdec_256x8m81.add(gdstk.Label('men', (34.5,4.275), layer=36, texttype=10))

lib.write_gds('xdec_256x8m81.gds')
